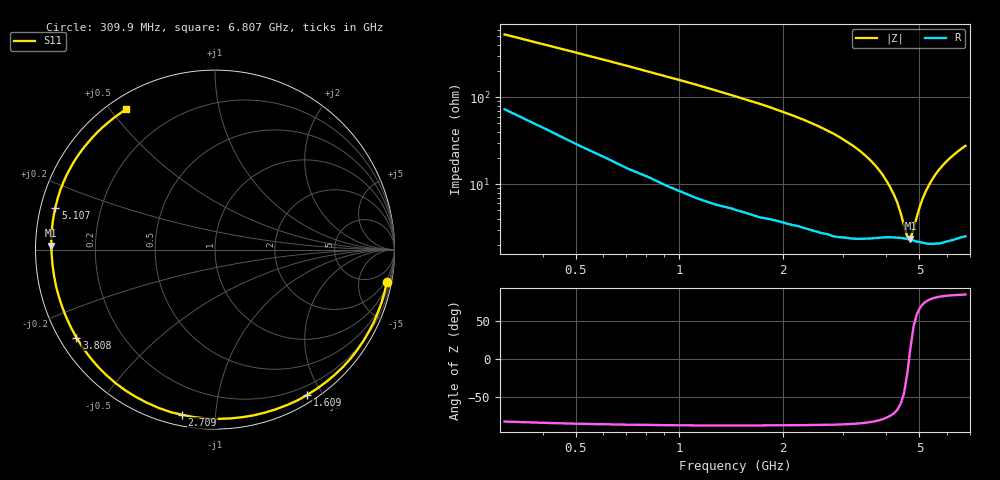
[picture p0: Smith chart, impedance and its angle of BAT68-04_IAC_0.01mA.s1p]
! Infineon Technologies  Discrete & RF Semiconductors
! BAT68-04
! IAC = 0.01 mA
! One-Port S-Parameters
# Hz  S  MA  R  50
!f  S11
!Hz  Mag  Ang
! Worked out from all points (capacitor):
!   66 points, 309.9 MHz to 6.807 GHz, reference 50 ohm
!   read as one part to ground: C = 971 fF near 309.9 MHz
!   lowest |Z| = 2.36 ohm at 4.708 GHz (marker M1)
!   series resonance near 4.667 GHz, so ESL is about 1.2 nH
!   S11 on the Smith chart (normalised r, x): 309.9 MHz: 1, -10; 1.609 GHz: 0.09, -1.81; 2.709 GHz: 0.05, -0.82; 3.808 GHz: 0.05, -0.29; 5.107 GHz: 0.04, +0.13; 6.807 GHz: 0.05, +0.55
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3.0985e8  0.9744 -10.7
5.0975e8  0.9737 -17.7
7.0965e8  0.9728 -24.7
1.0095e9  0.9699 -35.4
1.2094e9  0.9673 -42.7
1.4093e9  0.9625 -50.2
1.6092e9  0.9588 -57.7
1.8091e9  0.9546 -65.1
2.009e9  0.95 -73.0
2.2089e9  0.946 -80.7
2.4088e9  0.9432 -88.9
2.70865e9  0.9384 -101.3
2.8086e9  0.9385 -105.2
3.0085e9  0.9335 -114.0
3.2084e9  0.93 -122.3
3.4083e9  0.9249 -130.9
3.6082e9  0.9197 -139.3
3.8081e9  0.9147 -147.6
4.10795e9  0.9092 -159.6
4.4078e9  0.9085 -170.8
4.70765e9  0.9126 178.7
4.90755e9  0.9164 172.0
5.10745e9  0.92 165.3
5.2074e9  0.9216 162.1
5.6072e9  0.9252 150.2
6.007e9  0.9256 139.8
6.30685e9  0.9256 132.8
6.8066e9  0.9256 122.3
